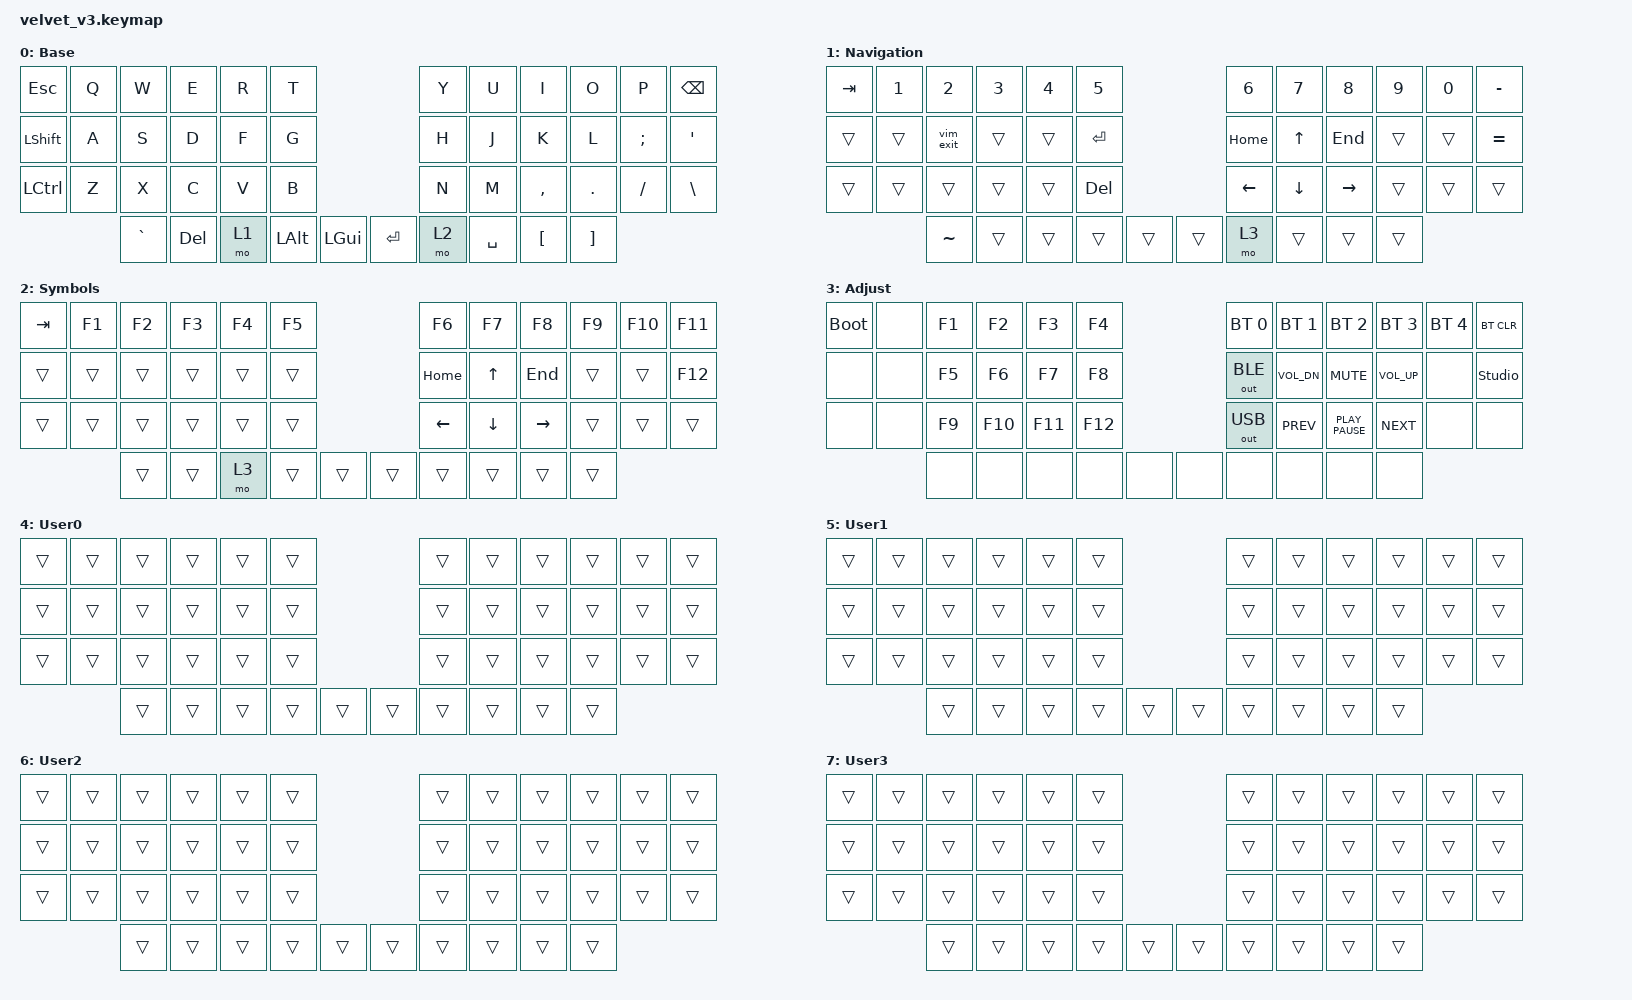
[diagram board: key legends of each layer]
#include "keys_ru.h"
#include <behaviors.dtsi>
#include <dt-bindings/zmk/bt.h>
#include <dt-bindings/zmk/keys.h>
#include <dt-bindings/zmk/outputs.h>

/ {
    macros {
        vim_exit: vim_exit {
            compatible = "zmk,behavior-macro";
            #binding-cells = <0>;
            bindings = <&kp LS(Z) &kp LS(Z)>;
            label = "VIM_EXIT";
        };
    };

    keymap {
        compatible = "zmk,keymap";

        base {
            bindings = <
&kp ESC     &kp Q  &kp W      &kp E       &kp R  &kp T                                  &kp Y  &kp U      &kp I      &kp O     &kp P     &kp BSPC
&kp LSHIFT  &kp A  &kp S      &kp D       &kp F  &kp G                                  &kp H  &kp J      &kp K      &kp L     &kp SEMI  &kp SQT
&kp LCTRL   &kp Z  &kp X      &kp C       &kp V  &kp B                                  &kp N  &kp M      &kp COMMA  &kp DOT   &kp FSLH  &kp BACKSLASH
                   &kp GRAVE  &kp DELETE  &mo 1  &kp LEFT_ALT  &kp LEFT_GUI    &kp RET  &mo 2  &kp SPACE  &kp LBKT   &kp RBKT
            >;

            display-name = "Base";
        };

        nav {
            bindings = <
&kp TAB  &kp N1  &kp N2     &kp N3  &kp N4  &kp N5                     &kp N6          &kp N7          &kp N8           &kp N9  &kp N0  &kp MINUS
&trans   &trans  &vim_exit  &trans  &trans  &kp RET                    &kp HOME        &kp UP          &kp END          &trans  &trans  &kp EQUAL
&trans   &trans  &trans     &trans  &trans  &kp DEL                    &kp LEFT_ARROW  &kp DOWN_ARROW  &kp RIGHT_ARROW  &trans  &trans  &trans
                 &kp TILDE  &trans  &trans  &trans   &trans    &trans  &mo 3           &trans          &trans           &trans
            >;

            display-name = "Navigation";
        };

        sym {
            bindings = <
&kp TAB  &kp F1  &kp F2  &kp F3  &kp F4  &kp F5                    &kp F6          &kp F7    &kp F8     &kp F9  &kp F10  &kp F11
&trans   &trans  &trans  &trans  &trans  &trans                    &kp HOME        &kp UP    &kp END    &trans  &trans   &kp F12
&trans   &trans  &trans  &trans  &trans  &trans                    &kp LEFT_ARROW  &kp DOWN  &kp RIGHT  &trans  &trans   &trans
                 &trans  &trans  &mo 3   &trans  &trans    &trans  &trans          &trans    &trans     &trans
            >;

            display-name = "Symbols";
        };

        adj {
            bindings = <
&bootloader  &none  &kp F1  &kp F2   &kp F3   &kp F4                   &bt BT_SEL 0  &bt BT_SEL 1  &bt BT_SEL 2      &bt BT_SEL 3  &bt BT_SEL 4  &bt BT_CLR
&none        &none  &kp F5  &kp F6   &kp F7   &kp F8                   &out OUT_BLE  &kp C_VOL_DN  &kp K_MUTE        &kp C_VOL_UP  &none         &studio_unlock
&none        &none  &kp F9  &kp F10  &kp F11  &kp F12                  &out OUT_USB  &kp K_PREV    &kp K_PLAY_PAUSE  &kp K_NEXT    &none         &none
                    &none   &none    &none    &none    &none    &none  &none         &none         &none             &none
            >;

            display-name = "Adjust";
        };

        User0 {
            bindings = <
&trans  &trans  &trans  &trans  &trans  &trans                    &trans  &trans  &trans  &trans  &trans  &trans
&trans  &trans  &trans  &trans  &trans  &trans                    &trans  &trans  &trans  &trans  &trans  &trans
&trans  &trans  &trans  &trans  &trans  &trans                    &trans  &trans  &trans  &trans  &trans  &trans
                &trans  &trans  &trans  &trans  &trans    &trans  &trans  &trans  &trans  &trans
            >;

            display-name = "User0";
        };

        User1 {
            bindings = <
&trans  &trans  &trans  &trans  &trans  &trans                    &trans  &trans  &trans  &trans  &trans  &trans
&trans  &trans  &trans  &trans  &trans  &trans                    &trans  &trans  &trans  &trans  &trans  &trans
&trans  &trans  &trans  &trans  &trans  &trans                    &trans  &trans  &trans  &trans  &trans  &trans
                &trans  &trans  &trans  &trans  &trans    &trans  &trans  &trans  &trans  &trans
            >;

            display-name = "User1";
        };

        User2 {
            bindings = <
&trans  &trans  &trans  &trans  &trans  &trans                    &trans  &trans  &trans  &trans  &trans  &trans
&trans  &trans  &trans  &trans  &trans  &trans                    &trans  &trans  &trans  &trans  &trans  &trans
&trans  &trans  &trans  &trans  &trans  &trans                    &trans  &trans  &trans  &trans  &trans  &trans
                &trans  &trans  &trans  &trans  &trans    &trans  &trans  &trans  &trans  &trans
            >;

            display-name = "User2";
        };

        User3 {
            bindings = <
&trans  &trans  &trans  &trans  &trans  &trans                    &trans  &trans  &trans  &trans  &trans  &trans
&trans  &trans  &trans  &trans  &trans  &trans                    &trans  &trans  &trans  &trans  &trans  &trans
&trans  &trans  &trans  &trans  &trans  &trans                    &trans  &trans  &trans  &trans  &trans  &trans
                &trans  &trans  &trans  &trans  &trans    &trans  &trans  &trans  &trans  &trans
            >;

            display-name = "User3";
        };
    };
};
